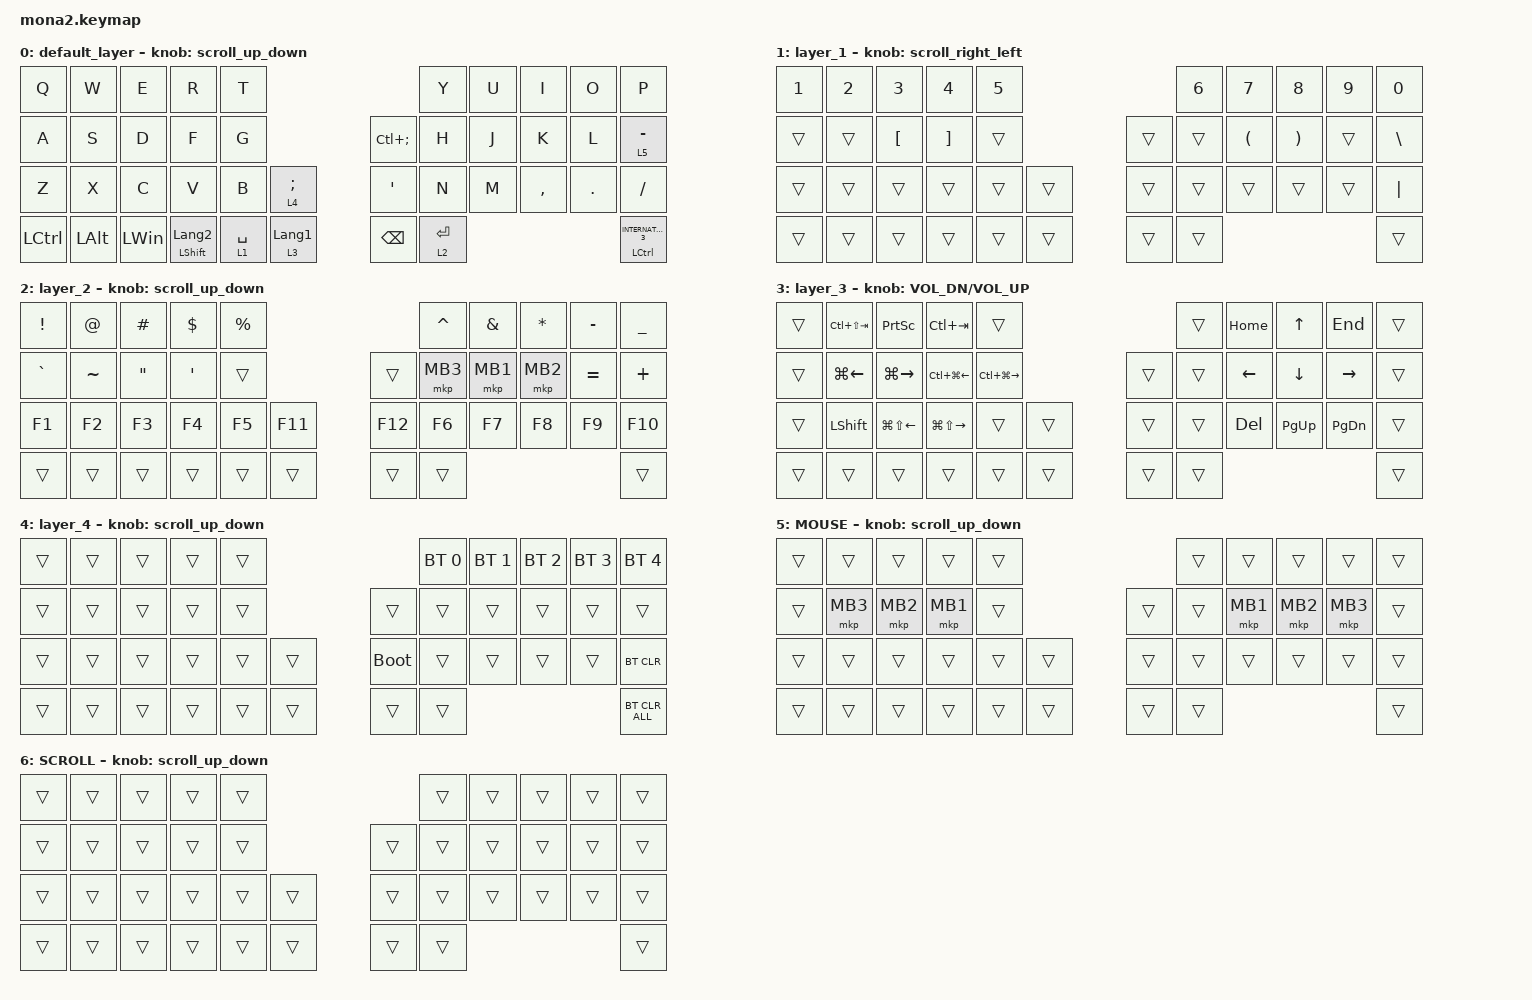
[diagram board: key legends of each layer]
// OS設定を日本語キーボードのまま使用するための変換定義

#define JP_DQUOTE       AT                // "
#define JP_AMPERSAND    CARET             // &
#define JP_QUOTE        AMPERSAND         // '
#define JP_EQUAL        UNDER             // =
#define JP_CARET        EQUAL             // ^
#define JP_YEN          0x89              // ¥
#define JP_PLUS         COLON             // +
#define JP_TILDE        PLUS              // ~
#define JP_PIPE         LS(0x89)          // |
#define JP_AT           LEFT_BRACKET      // @
#define JP_COLON        SINGLE_QUOTE      // :
#define JP_ASTERISK     DOUBLE_QUOTES     // *
#define JP_BACKQUOTE    LEFT_BRACE        // `
#define JP_UNDERSCORE   LS(0x87)          // _
#define JP_LBRACKET     RIGHT_BRACKET     // [
#define JP_RBRACKET     BACKSLASH         // ]
#define JP_LPAREN       ASTERISK          // (
#define JP_RPAREN       LEFT_PARENTHESIS  // )
#define JP_LBRACE       RIGHT_BRACE       // {
#define JP_RBRACE       PIPE              // }
#define JP_KANA         LANGUAGE_1        // かな
#define JP_EISU         LANGUAGE_2        // 英数
#define JP_HANZEN       GRAVE             // 半角/全角

#include <input/processors.dtsi>
#include <dt-bindings/zmk/input_transform.h>
#include <zephyr/dt-bindings/input/input-event-codes.h>
#include <behaviors.dtsi>
#include <dt-bindings/zmk/bt.h>
#include <dt-bindings/zmk/keys.h>
#include <dt-bindings/zmk/pointing.h>

#define ZMK_POINTING_DEFAULT_SCRL_VAL 100
#define MOUSE 5
#define SCROLL 6

&mt {
    flavor = "balanced";
    quick-tap-ms = <0>;
};

&lt {
    quick-tap-ms = <300>;
    flavor = "balanced";
};

/ {
    combos {
        compatible = "zmk,combos";

        layer4_ESC {
            bindings = <&lt 4 ESC>;
            key-positions = <39 38>;
        };

        tab {
            bindings = <&kp TAB>;
            key-positions = <11 12>;
        };
    };

    macros {
        to_layer_0: to_layer_0 {
            compatible = "zmk,behavior-macro-one-param";
            #binding-cells = <1>;
            bindings = <&to 0 &macro_param_1to1 &kp MACRO_PLACEHOLDER>;
            label = "TO_LAYER_0";
        };
    };

    behaviors {
        lt_to_layer_0: lt_to_layer_0 {
            compatible = "zmk,behavior-hold-tap";
            label = "LAYER_TAP_TO_0";
            bindings = <&mo>, <&to_layer_0>;

            #binding-cells = <2>;
            tapping-term-ms = <200>;
        };

        scroll_up_down: mouse_wheel_up_down {
            compatible = "zmk,behavior-sensor-rotate";
            #sensor-binding-cells = <0>;
            bindings = <&msc SCRL_DOWN>, <&msc SCRL_UP>;

            tap-ms = <20>;
        };

        scroll_right_left: mouse_wheel_right_left {
            compatible = "zmk,behavior-sensor-rotate";
            #sensor-binding-cells = <0>;
            bindings = <&msc SCRL_LEFT>, <&msc SCRL_RIGHT>;

            tap-ms = <20>;
        };
    };

    keymap {
        compatible = "zmk,keymap";

        default_layer {
            bindings = <
&kp Q             &kp W         &kp E         &kp R                   &kp T                                                       &kp Y        &kp U  &kp I      &kp O    &kp P
&kp A             &kp S         &kp D         &kp F                   &kp G        　　　　　　　               &kp LC(SEMICOLON)  &kp H        &kp J  &kp K      &kp L    &lt 5 MINUS
&kp Z             &kp X         &kp C         &kp V                   &kp B        &lt 4 SEMICOLON             &kp JP_COLON       &kp N        &kp M  &kp COMMA  &kp DOT  &kp SLASH
&kp LEFT_CONTROL  &kp LEFT_ALT  &kp LEFT_WIN  &mt LEFT_SHIFT JP_EISU  &lt 1 SPACE  &lt_to_layer_0 3 JP_KANA    &kp BACKSPACE      &lt 2 ENTER                             &mt LCTRL INTERNATIONAL_3
            >;

            sensor-bindings = <&scroll_up_down>;
        };

        layer_1 {
            bindings = <
&kp NUMBER_1  &kp NUMBER_2  &kp NUMBER_3      &kp NUMBER_4       &kp NUMBER_5                    &kp NUMBER_6  &kp NUMBER_7          &kp NUMBER_8           &kp NUMBER_9  &kp NUMBER_0
&trans        &trans        &kp LEFT_BRACKET  &kp RIGHT_BRACKET  &trans                  &trans  &trans        &kp LEFT_PARENTHESIS  &kp RIGHT_PARENTHESIS  &trans        &kp BACKSLASH
&trans        &trans        &trans            &trans             &trans        &trans    &trans  &trans        &trans                &trans                 &trans        &kp PIPE
&trans        &trans        &trans            &trans             &trans        &trans    &trans  &trans                                                                   &trans
            >;

            sensor-bindings = <&scroll_right_left>;
        };

        layer_2 {
            bindings = <
&kp EXCLAMATION  &kp AT_SIGN  &kp POUND          &kp DOLLAR  &kp PERCENT                      &kp CARET  &kp AMPERSAND  &kp ASTERISK  &kp MINUS  &kp UNDERSCORE
&kp GRAVE        &kp TILDE    &kp DOUBLE_QUOTES  &kp SQT     &trans                  &trans   &mkp MB3   &mkp MB1       &mkp MB2      &kp EQUAL  &kp PLUS
&kp F1           &kp F2       &kp F3             &kp F4      &kp F5       &kp F11    &kp F12  &kp F6     &kp F7         &kp F8        &kp F9     &kp F10
&trans           &trans       &trans             &trans      &trans       &trans     &trans   &trans                                             &trans
            >;

            sensor-bindings = <&scroll_up_down>;
        };

        layer_3 {
            bindings = <
&trans  &kp LC(LS(TAB))     &kp PRINTSCREEN         &kp LC(TAB)              &trans                                     &trans  &kp HOME        &kp UP_ARROW    &kp END          &trans
&trans  &kp LG(LEFT_ARROW)  &kp LG(RIGHT_ARROW)     &kp LC(LG(LEFT_ARROW))   &kp LC(LG(RIGHT_ARROW))            &trans  &trans  &kp LEFT_ARROW  &kp DOWN_ARROW  &kp RIGHT_ARROW  &trans
&trans  &kp LEFT_SHIFT      &kp LG(LS(LEFT_ARROW))  &kp LG(LS(RIGHT_ARROW))  &trans                   &trans    &trans  &trans  &kp DELETE      &kp PAGE_UP     &kp PAGE_DOWN    &trans
&trans  &trans              &trans                  &trans                   &trans                   &trans    &trans  &trans                                                   &trans
            >;

            sensor-bindings = <&inc_dec_kp C_VOL_DN C_VOL_UP>;
        };

        layer_4 {
            bindings = <
&trans  &trans  &trans  &trans  &trans                         &bt BT_SEL 0  &bt BT_SEL 1  &bt BT_SEL 2  &bt BT_SEL 3  &bt BT_SEL 4
&trans  &trans  &trans  &trans  &trans            &trans       &trans        &trans        &trans        &trans        &trans
&trans  &trans  &trans  &trans  &trans  &trans    &bootloader  &trans        &trans        &trans        &trans        &bt BT_CLR
&trans  &trans  &trans  &trans  &trans  &trans    &trans       &trans                                                  &bt BT_CLR_ALL
            >;

            sensor-bindings = <&scroll_up_down>;
        };

        MOUSE {
            bindings = <
&trans  &trans    &trans    &trans    &trans                    &trans  &trans    &trans    &trans    &trans
&trans  &mkp MB3  &mkp MB2  &mkp MB1  &trans            &trans  &trans  &mkp MB1  &mkp MB2  &mkp MB3  &trans
&trans  &trans    &trans    &trans    &trans  &trans    &trans  &trans  &trans    &trans    &trans    &trans
&trans  &trans    &trans    &trans    &trans  &trans    &trans  &trans                                &trans
            >;

            sensor-bindings = <&scroll_up_down>;
        };

        SCROLL {
            bindings = <
&trans  &trans  &trans  &trans  &trans                    &trans  &trans  &trans  &trans  &trans
&trans  &trans  &trans  &trans  &trans            &trans  &trans  &trans  &trans  &trans  &trans
&trans  &trans  &trans  &trans  &trans  &trans    &trans  &trans  &trans  &trans  &trans  &trans
&trans  &trans  &trans  &trans  &trans  &trans    &trans  &trans                          &trans
            >;

            sensor-bindings = <&scroll_up_down>;
        };
    };
};
